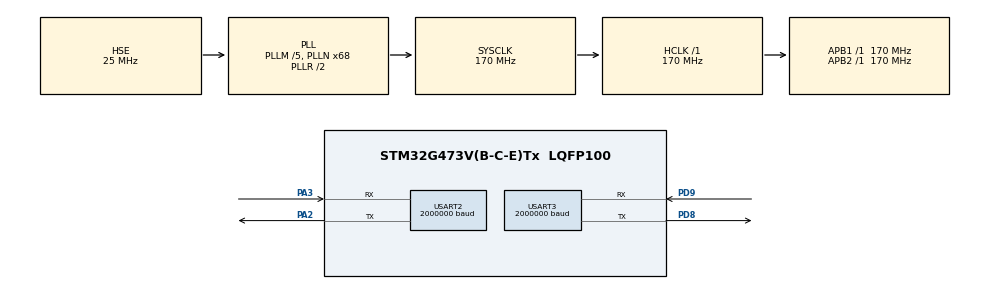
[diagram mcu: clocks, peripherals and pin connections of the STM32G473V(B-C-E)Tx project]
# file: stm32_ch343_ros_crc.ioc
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Dma.Request0=USART2_TX
Dma.Request1=USART3_TX
Dma.USART2_TX.0.Direction=DMA_MEMORY_TO_PERIPH
Dma.USART2_TX.0.EventEnable=DISABLE
Dma.USART2_TX.0.Instance=DMA1_Channel1
Dma.USART2_TX.0.MemDataAlignment=DMA_MDATAALIGN_BYTE
Dma.USART2_TX.0.MemInc=DMA_MINC_ENABLE
Dma.USART2_TX.0.Mode=DMA_CIRCULAR
Dma.USART2_TX.0.PeriphDataAlignment=DMA_PDATAALIGN_BYTE
Dma.USART2_TX.0.PeriphInc=DMA_PINC_DISABLE
Dma.USART2_TX.0.Polarity=HAL_DMAMUX_REQ_GEN_RISING
Dma.USART2_TX.0.Priority=DMA_PRIORITY_LOW
Dma.USART2_TX.0.RequestNumber=1
Dma.USART2_TX.0.SignalID=NONE
Dma.USART2_TX.0.SyncEnable=DISABLE
Dma.USART2_TX.0.SyncPolarity=HAL_DMAMUX_SYNC_NO_EVENT
Dma.USART2_TX.0.SyncRequestNumber=1
Dma.USART2_TX.0.SyncSignalID=NONE
Dma.USART3_TX.1.Direction=DMA_MEMORY_TO_PERIPH
Dma.USART3_TX.1.EventEnable=DISABLE
Dma.USART3_TX.1.Instance=DMA1_Channel2
Dma.USART3_TX.1.MemDataAlignment=DMA_MDATAALIGN_BYTE
Dma.USART3_TX.1.MemInc=DMA_MINC_ENABLE
Dma.USART3_TX.1.Mode=DMA_CIRCULAR
Dma.USART3_TX.1.PeriphDataAlignment=DMA_PDATAALIGN_BYTE
Dma.USART3_TX.1.PeriphInc=DMA_PINC_DISABLE
Dma.USART3_TX.1.Polarity=HAL_DMAMUX_REQ_GEN_RISING
Dma.USART3_TX.1.Priority=DMA_PRIORITY_LOW
Dma.USART3_TX.1.RequestNumber=1
Dma.USART3_TX.1.SignalID=NONE
Dma.USART3_TX.1.SyncEnable=DISABLE
Dma.USART3_TX.1.SyncPolarity=HAL_DMAMUX_SYNC_NO_EVENT
Dma.USART3_TX.1.SyncRequestNumber=1
Dma.USART3_TX.1.SyncSignalID=NONE
Mcu.Family=STM32G4
Mcu.Name=STM32G473V(B-C-E)Tx
Mcu.Package=LQFP100
NVIC.DMA1_Channel1_IRQn=true\:0\:0\:false\:false\:true\:false\:true\:true
NVIC.DMA1_Channel2_IRQn=true\:0\:0\:false\:false\:true\:false\:true\:true
NVIC.PriorityGroup=NVIC_PRIORITYGROUP_4
NVIC.USART2_IRQn=true\:0\:0\:false\:false\:true\:true\:true\:true
NVIC.USART3_IRQn=true\:0\:0\:false\:false\:true\:true\:true\:true
PA13.Mode=Serial_Wire
PA13.Signal=SYS_JTMS-SWDIO
PA14.Mode=Serial_Wire
PA14.Signal=SYS_JTCK-SWCLK
PA2.Mode=Asynchronous
PA2.Signal=USART2_TX
PA3.Mode=Asynchronous
PA3.Signal=USART2_RX
PD8.Mode=Asynchronous
PD8.Signal=USART3_TX
PD9.Mode=Asynchronous
PD9.Signal=USART3_RX
PF0-OSC_IN.Mode=HSE-External-Oscillator
PF0-OSC_IN.Signal=RCC_OSC_IN
PF1-OSC_OUT.Mode=HSE-External-Oscillator
PF1-OSC_OUT.Signal=RCC_OSC_OUT
ProjectManager.HeapSize=0x200
ProjectManager.StackSize=0x400
ProjectManager.TargetToolchain=Makefile
RCC.ADC12Freq_Value=170000000
RCC.ADC345Freq_Value=170000000
RCC.AHBFreq_Value=170000000
RCC.APB1Freq_Value=170000000
RCC.APB1TimFreq_Value=170000000
RCC.APB2Freq_Value=170000000
RCC.APB2TimFreq_Value=170000000
RCC.CortexFreq_Value=170000000
RCC.EXTERNAL_CLOCK_VALUE=12288000
RCC.HCLKFreq_Value=170000000
RCC.HSE_VALUE=25000000
RCC.HSI48_VALUE=48000000
RCC.HSI_VALUE=16000000
RCC.LSE_VALUE=32768
RCC.PLLM=RCC_PLLM_DIV5
RCC.PLLN=68
RCC.PLLSourceVirtual=RCC_PLLSOURCE_HSE
RCC.SYSCLKFreq_VALUE=170000000
RCC.SYSCLKSource=RCC_SYSCLKSOURCE_PLLCLK
RCC.USBFreq_Value=170000000
RCC.VCOOutputFreq_Value=340000000
USART2.BaudRate=2000000
USART2.StopBits=STOPBITS_2
USART2.VirtualMode-Asynchronous=VM_ASYNC
USART3.BaudRate=2000000
USART3.StopBits=STOPBITS_2
USART3.VirtualMode-Asynchronous=VM_ASYNC
VP_SYS_VS_DBSignals.Mode=DisableDeadBatterySignals
board=custom

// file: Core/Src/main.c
/* USER CODE BEGIN Header */
/**
  ******************************************************************************
  * @file           : main.c
  * @brief          : Main program body
  ******************************************************************************
  * @attention
  *
  * Copyright (c) 2024 STMicroelectronics.
  * All rights reserved.
  *
  * This software is licensed under terms that can be found in the LICENSE file
  * in the root directory of this software component.
  * If no LICENSE file comes with this software, it is provided AS-IS.
  *
  ******************************************************************************
  */
/* USER CODE END Header */
#include "main.h"
#include "dma.h"
#include "usart.h"
#include "gpio.h"

/* USER CODE BEGIN PD */
#define HEADER_SIZE 4+2+1+2
#define TX_BUFFER_SIZE (HEADER_SIZE + 80 + 2)
/* USER CODE END PD */

/* USER CODE BEGIN PV */
uint8_t tx_data[TX_BUFFER_SIZE] =
{
  // Start word
  0xAA,0xAA,0xAA,0xAA,
  // Data length, little endian, dec 80, hex 0x0050
  0x50,0x00,
  // protocol id
  0x55,
  // CRC16
  0x00, 0x00,
  // Payload, 0~79
  0x00,0x01,0x02,0x03,0x04,0x05,0x06,0x07,0x08,0x09,
  0x0A,0x0B,0x0C,0x0D,0x0E,0x0F,0x10,0x11,0x12,0x13,
  0x14,0x15,0x16,0x17,0x18,0x19,0x1A,0x1B,0x1C,0x1D,
  0x1E,0x1F,0x20,0x21,0x22,0x23,0x24,0x25,0x26,0x27,
  0x28,0x29,0x2A,0x2B,0x2C,0x2D,0x2E,0x2F,0x30,0x31,
  0x32,0x33,0x34,0x35,0x36,0x37,0x38,0x39,0x3A,0x3B,
  0x3C,0x3D,0x3E,0x3F,0x40,0x41,0x42,0x43,0x44,0x45,
  0x46,0x47,0x48,0x49,0x4A,0x4B,0x4C,0x4D,0x4E,0x4F,
  // CRC16
  0x0C,0x27
};

/* USER CODE END PV */

void SystemClock_Config(void);

/* USER CODE BEGIN 0 */
static const uint16_t wCRC_Table_JUDGE[256] = {
    0x0000, 0x1189, 0x2312, 0x329b, 0x4624, 0x57ad, 0x6536, 0x74bf, 0x8c48, 0x9dc1, 0xaf5a, 0xbed3, 0xca6c, 0xdbe5, 0xe97e, 0xf8f7, 0x1081, 0x0108,
    0x3393, 0x221a, 0x56a5, 0x472c, 0x75b7, 0x643e, 0x9cc9, 0x8d40, 0xbfdb, 0xae52, 0xdaed, 0xcb64, 0xf9ff, 0xe876, 0x2102, 0x308b, 0x0210, 0x1399,
    0x6726, 0x76af, 0x4434, 0x55bd, 0xad4a, 0xbcc3, 0x8e58, 0x9fd1, 0xeb6e, 0xfae7, 0xc87c, 0xd9f5, 0x3183, 0x200a, 0x1291, 0x0318, 0x77a7, 0x662e,
    0x54b5, 0x453c, 0xbdcb, 0xac42, 0x9ed9, 0x8f50, 0xfbef, 0xea66, 0xd8fd, 0xc974, 0x4204, 0x538d, 0x6116, 0x709f, 0x0420, 0x15a9, 0x2732, 0x36bb,
    0xce4c, 0xdfc5, 0xed5e, 0xfcd7, 0x8868, 0x99e1, 0xab7a, 0xbaf3, 0x5285, 0x430c, 0x7197, 0x601e, 0x14a1, 0x0528, 0x37b3, 0x263a, 0xdecd, 0xcf44,
    0xfddf, 0xec56, 0x98e9, 0x8960, 0xbbfb, 0xaa72, 0x6306, 0x728f, 0x4014, 0x519d, 0x2522, 0x34ab, 0x0630, 0x17b9, 0xef4e, 0xfec7, 0xcc5c, 0xddd5,
    0xa96a, 0xb8e3, 0x8a78, 0x9bf1, 0x7387, 0x620e, 0x5095, 0x411c, 0x35a3, 0x242a, 0x16b1, 0x0738, 0xffcf, 0xee46, 0xdcdd, 0xcd54, 0xb9eb, 0xa862,
    0x9af9, 0x8b70, 0x8408, 0x9581, 0xa71a, 0xb693, 0xc22c, 0xd3a5, 0xe13e, 0xf0b7, 0x0840, 0x19c9, 0x2b52, 0x3adb, 0x4e64, 0x5fed, 0x6d76, 0x7cff,
    0x9489, 0x8500, 0xb79b, 0xa612, 0xd2ad, 0xc324, 0xf1bf, 0xe036, 0x18c1, 0x0948, 0x3bd3, 0x2a5a, 0x5ee5, 0x4f6c, 0x7df7, 0x6c7e, 0xa50a, 0xb483,
    0x8618, 0x9791, 0xe32e, 0xf2a7, 0xc03c, 0xd1b5, 0x2942, 0x38cb, 0x0a50, 0x1bd9, 0x6f66, 0x7eef, 0x4c74, 0x5dfd, 0xb58b, 0xa402, 0x9699, 0x8710,
    0xf3af, 0xe226, 0xd0bd, 0xc134, 0x39c3, 0x284a, 0x1ad1, 0x0b58, 0x7fe7, 0x6e6e, 0x5cf5, 0x4d7c, 0xc60c, 0xd785, 0xe51e, 0xf497, 0x8028, 0x91a1,
    0xa33a, 0xb2b3, 0x4a44, 0x5bcd, 0x6956, 0x78df, 0x0c60, 0x1de9, 0x2f72, 0x3efb, 0xd68d, 0xc704, 0xf59f, 0xe416, 0x90a9, 0x8120, 0xb3bb, 0xa232,
    0x5ac5, 0x4b4c, 0x79d7, 0x685e, 0x1ce1, 0x0d68, 0x3ff3, 0x2e7a, 0xe70e, 0xf687, 0xc41c, 0xd595, 0xa12a, 0xb0a3, 0x8238, 0x93b1, 0x6b46, 0x7acf,
    0x4854, 0x59dd, 0x2d62, 0x3ceb, 0x0e70, 0x1ff9, 0xf78f, 0xe606, 0xd49d, 0xc514, 0xb1ab, 0xa022, 0x92b9, 0x8330, 0x7bc7, 0x6a4e, 0x58d5, 0x495c,
    0x3de3, 0x2c6a, 0x1ef1, 0x0f78};

uint16_t getCRC16CheckSum(uint8_t *msg, uint32_t len, uint16_t wCRC)
{

    uint8_t chData;
    if (msg == 0)
    {
        return 0xFFFF;
    }
    while (len--)
    {
        chData = *msg++;
        (wCRC) = ((uint16_t)(wCRC) >> 8) ^ wCRC_Table_JUDGE[((uint16_t)(wCRC) ^ (uint16_t)(chData)) & 0x00ff];
    }
    return wCRC;
}

static const uint16_t CRC_INIT_JUDGE = 0xffff;
void appendCRC16CheckSum(uint8_t *msg, uint32_t len)
{

    uint16_t wCRC = 0;
    if ((msg == 0) || (len <= 2))
    {
        return;
    }
    wCRC         = getCRC16CheckSum((uint8_t *)msg, len - 2, CRC_INIT_JUDGE);
    msg[len - 2] = (uint8_t)(wCRC & 0x00ff);
    msg[len - 1] = (uint8_t)((wCRC >> 8) & 0x00ff);
}
/* USER CODE END 0 */

int main(void)
{

  /* MCU Configuration--------------------------------------------------------*/

  /* Reset of all peripherals, Initializes the Flash interface and the Systick. */
  HAL_Init();

  /* Configure the system clock */
  SystemClock_Config();

  /* Initialize all configured peripherals */
  MX_GPIO_Init();
  MX_DMA_Init();
  MX_USART2_UART_Init();
  MX_USART3_UART_Init();
  /* USER CODE BEGIN 2 */
  appendCRC16CheckSum(tx_data, 4+2+1+2);
  appendCRC16CheckSum(tx_data, TX_BUFFER_SIZE);
  HAL_UART_Transmit_DMA(&huart3, (uint8_t *)tx_data, TX_BUFFER_SIZE);
  /* USER CODE END 2 */

  /* Infinite loop */
  while (1)
  {

  }
}

void SystemClock_Config(void)
{
  RCC_OscInitTypeDef RCC_OscInitStruct = {0};
  RCC_ClkInitTypeDef RCC_ClkInitStruct = {0};

  /** Configure the main internal regulator output voltage
  */
  HAL_PWREx_ControlVoltageScaling(PWR_REGULATOR_VOLTAGE_SCALE1_BOOST);

  /** Initializes the RCC Oscillators according to the specified parameters
  * in the RCC_OscInitTypeDef structure.
  */
  RCC_OscInitStruct.OscillatorType = RCC_OSCILLATORTYPE_HSE;
  RCC_OscInitStruct.HSEState = RCC_HSE_ON;
  RCC_OscInitStruct.PLL.PLLState = RCC_PLL_ON;
  RCC_OscInitStruct.PLL.PLLSource = RCC_PLLSOURCE_HSE;
  RCC_OscInitStruct.PLL.PLLM = RCC_PLLM_DIV5;
  RCC_OscInitStruct.PLL.PLLN = 68;
  RCC_OscInitStruct.PLL.PLLP = RCC_PLLP_DIV2;
  RCC_OscInitStruct.PLL.PLLQ = RCC_PLLQ_DIV2;
  RCC_OscInitStruct.PLL.PLLR = RCC_PLLR_DIV2;
  if (HAL_RCC_OscConfig(&RCC_OscInitStruct) != HAL_OK)
  {
    Error_Handler();
  }

  /** Initializes the CPU, AHB and APB buses clocks
  */
  RCC_ClkInitStruct.ClockType = RCC_CLOCKTYPE_HCLK|RCC_CLOCKTYPE_SYSCLK
                              |RCC_CLOCKTYPE_PCLK1|RCC_CLOCKTYPE_PCLK2;
  RCC_ClkInitStruct.SYSCLKSource = RCC_SYSCLKSOURCE_PLLCLK;
  RCC_ClkInitStruct.AHBCLKDivider = RCC_SYSCLK_DIV1;
  RCC_ClkInitStruct.APB1CLKDivider = RCC_HCLK_DIV1;
  RCC_ClkInitStruct.APB2CLKDivider = RCC_HCLK_DIV1;

  if (HAL_RCC_ClockConfig(&RCC_ClkInitStruct, FLASH_LATENCY_4) != HAL_OK)
  {
    Error_Handler();
  }
}

void Error_Handler(void)
{
  __disable_irq();
  while (1)
  {
  }
}
